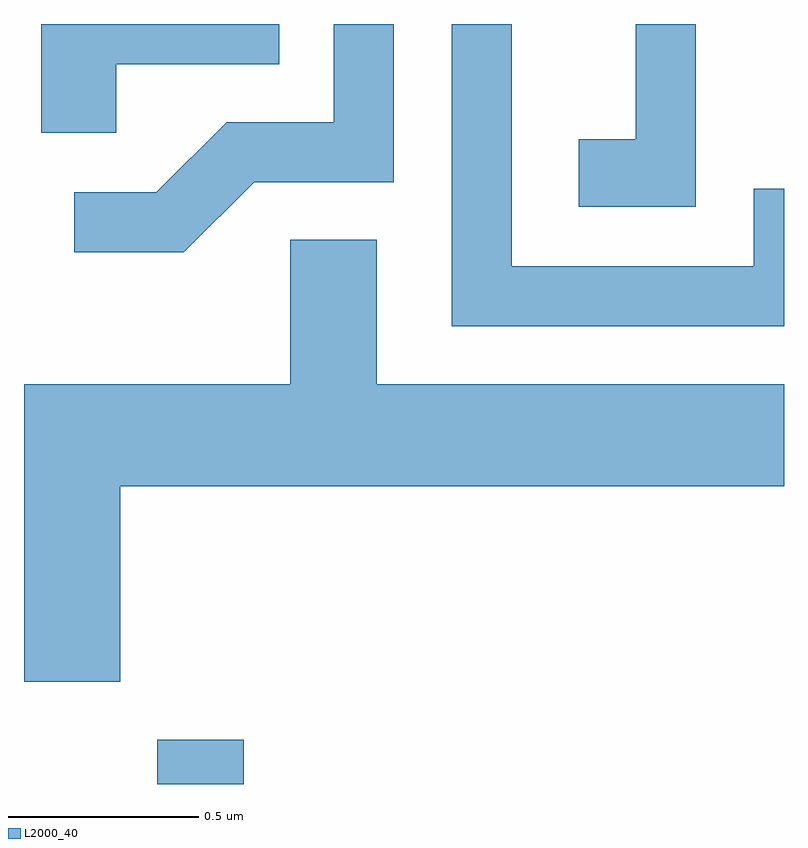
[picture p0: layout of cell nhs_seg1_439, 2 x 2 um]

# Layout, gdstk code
import gdstk
lib = gdstk.Library(unit=1e-6, precision=1e-09)
def R(c, l, rs):  # rectangles x0, y0, x1, y1
    for r in rs: c.add(gdstk.rectangle(r[:2], r[2:], *l))
def P(c, l, *ps):  # polygons
    for p in ps: c.add(gdstk.Polygon(p, *l))
L2000_40 = (2000, 40)

nhs_seg1_439 = lib.new_cell('nhs_seg1_439')
R(nhs_seg1_439, L2000_40, [(188.961,867.712,189.189,867.829)])
P(nhs_seg1_439, L2000_40, [(190.611,869.279),(190.531,869.279),(190.531,869.074),(189.894,869.074),(189.894,869.712),(189.736,869.712),(189.736,868.916),(190.611,868.916)],
  [(189.217,869.296),(189.584,869.296),(189.584,869.712),(189.426,869.712),(189.426,869.454),(189.144,869.454),(188.959,869.269),(188.743,869.269),(188.743,869.111),(189.032,869.111)],
  [(190.379,869.712),(190.221,869.712),(190.221,869.409),(190.071,869.409),(190.071,869.231),(190.379,869.231)],
  [(188.854,869.606),(189.283,869.606),(189.283,869.712),(188.656,869.712),(188.656,869.426),(188.854,869.426)],
  [(188.864,868.496),(190.611,868.496),(190.611,868.764),(189.539,868.764),(189.539,869.144),(189.311,869.144),(189.311,868.764),(188.611,868.764),(188.611,867.981),(188.864,867.981)])

lib.write_gds('nhs_seg1_439.gds')
